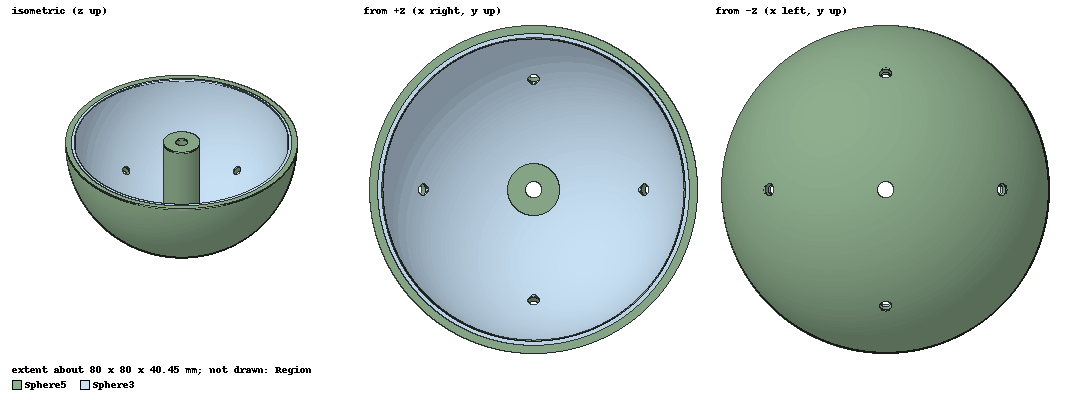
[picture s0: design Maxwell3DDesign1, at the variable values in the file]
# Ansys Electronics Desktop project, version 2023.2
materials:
  vacuum: permittivity=1
  air: permittivity=1.0006 permeability=1.0000004
  Teflon (tm): permittivity=2.1 dielectric_loss_tangent=0.001
  teflon_based: permittivity=2.08 dielectric_loss_tangent=0.001
  HDPE plastic: permittivity=2.3 dielectric_loss_tangent=0.0005
  Arlon DiClad 880 (tm): permittivity=2.2 dielectric_loss_tangent=0.0009

design Maxwell3DDesign1 (Maxwell 3D, Electrostatic, model units mm)
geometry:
  Sphere3 [air] = sphere(centre=(0mm, 0mm, 0mm), radius=38mm)
  Cylinder2 = cylinder(axis=Z, base_centre=(0mm, 0mm, 0mm), radius=41.231056mm, height=50mm)
  Sphere3.subtract(Cylinder2)
  Sphere4 = sphere(centre=(0mm, 0mm, 0mm), radius=37mm)
  Sphere3.subtract(Sphere4)
  Cylinder3 = cylinder(axis=Z, base_centre=(0mm, 0mm, -40mm), radius=6.35mm, height=110mm)
  Sphere3.subtract(Cylinder3)
  Cylinder6 = cylinder(axis=Z, base_centre=(-12.5mm, 0mm, -40mm), radius=1.5mm, height=70mm)
  Cylinder6.rotate(axis=Y, angle=27deg)
  point Point1 = (-50mm, 30mm, 0mm)
  point Point2 = (-70mm, 40mm, 0mm)
  Cylinder7 = cylinder(axis=Z, base_centre=(12.5mm, 0mm, -40mm), radius=1.5mm, height=70mm)
  Cylinder7.rotate(axis=Y, angle=-27deg)
  Cylinder8 = cylinder(axis=Z, base_centre=(0mm, 12.5mm, -40mm), radius=1.5mm, height=70mm)
  Cylinder8.rotate(axis=X, angle=27deg)
  Cylinder9 = cylinder(axis=Z, base_centre=(0mm, -12.5mm, -40mm), radius=1.5mm, height=70mm)
  Cylinder9.rotate(axis=X, angle=-27deg)
  Sphere3.subtract(Cylinder6..Cylinder9)
  Region [vacuum] = region(percentage_offset=50 on all sides)
  Sphere5 [Arlon DiClad 880 (tm)] = sphere(centre=(0mm, 0mm, 0mm), radius=40mm)
  Cylinder10 = cylinder(axis=Z, base_centre=(0mm, 0mm, 0mm), radius=50mm, height=60mm)
  Sphere5.subtract(Cylinder10)
  Sphere6 = sphere(centre=(0mm, 0mm, 0mm), radius=38mm)
  Cylinder11 = cylinder(axis=Z, base_centre=(0mm, 0mm, -40mm), radius=6.35mm, height=100mm)
  Sphere6.subtract(Cylinder11)
  Sphere5.subtract(Sphere6)
  Cylinder12 = cylinder(axis=Z, base_centre=(-12.5mm, 0mm, -40mm), radius=1.5mm, height=70mm)
  Cylinder12.rotate(axis=Y, angle=27deg)
  Cylinder13 = cylinder(axis=Z, base_centre=(12.5mm, 0mm, -40mm), radius=1.5mm, height=70mm)
  Cylinder13.rotate(axis=Y, angle=-27deg)
  Cylinder14 = cylinder(axis=Z, base_centre=(0mm, 12.5mm, -40mm), radius=1.5mm, height=70mm)
  Cylinder14.rotate(axis=X, angle=27deg)
  Cylinder15 = cylinder(axis=Z, base_centre=(0mm, -12.5mm, -40mm), radius=1.5mm, height=70mm)
  Cylinder15.rotate(axis=X, angle=-27deg)
  Sphere5.subtract(Cylinder12..Cylinder15)
  Cylinder16 = cylinder(axis=Z, base_centre=(0mm, 0mm, -40mm), radius=2mm, height=50mm)
  Sphere5.subtract(Cylinder16)
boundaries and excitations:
  Charge1: Charge Objects=Sphere3 Value=9.19e-06
  Voltage1: Voltage Objects=Region Voltage=100kV
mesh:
  initial mesh: GlobalCurvilinear{Apply}
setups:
  Setup1: Electrostatic MaximumPasses=100 MinimumPasses=2 MinimumConvergedPasses=1 PercentRefinement=30 PercentError=0.01 NonLinearResidual=0.001
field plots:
  E_Vector1..E_Vector11: E in Sphere3 on Setup1 : LastAdaptive
